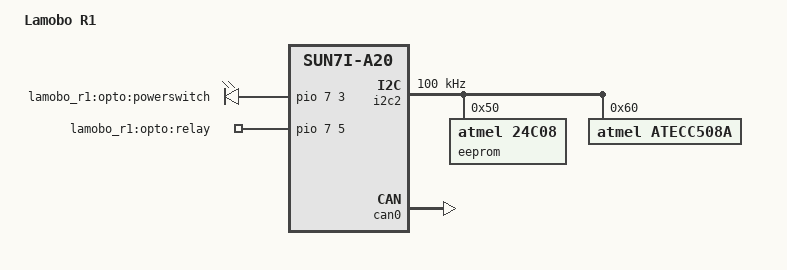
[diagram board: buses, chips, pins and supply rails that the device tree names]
// SPDX-License-Identifier: GPL-2.0-or-later
/*
 * Copyright 2020 Linutronix GmbH
 * Author: Benedikt Spranger <b.spranger@linutronix.de>
 */

/dts-v1/;
#include "sun7i-a20-lamobo-r1.dts"

/ {
	model = "Lamobo R1";
	compatible = "linutronix,testbox-v2", "lamobo,lamobo-r1", "allwinner,sun7i-a20";

	leds {
		led-opto1 {
			label = "lamobo_r1:opto:powerswitch";
			gpios = <&pio 7 3 GPIO_ACTIVE_HIGH>;
		};

		led-opto2 {
			label = "lamobo_r1:opto:relay";
			gpios = <&pio 7 5 GPIO_ACTIVE_HIGH>;
		};
	};
};

&i2c2 {
	clock-frequency = <100000>;
	status = "okay";

	eeprom: eeprom@50 {
		compatible = "atmel,24c08";
		reg = <0x50>;
		status = "okay";
	};

	atecc508a@60 {
		compatible = "atmel,atecc508a";
		reg = <0x60>;
	};
};

&can0 {
	pinctrl-names = "default";
	pinctrl-0 = <&can_ph_pins>;
	status = "okay";
};
